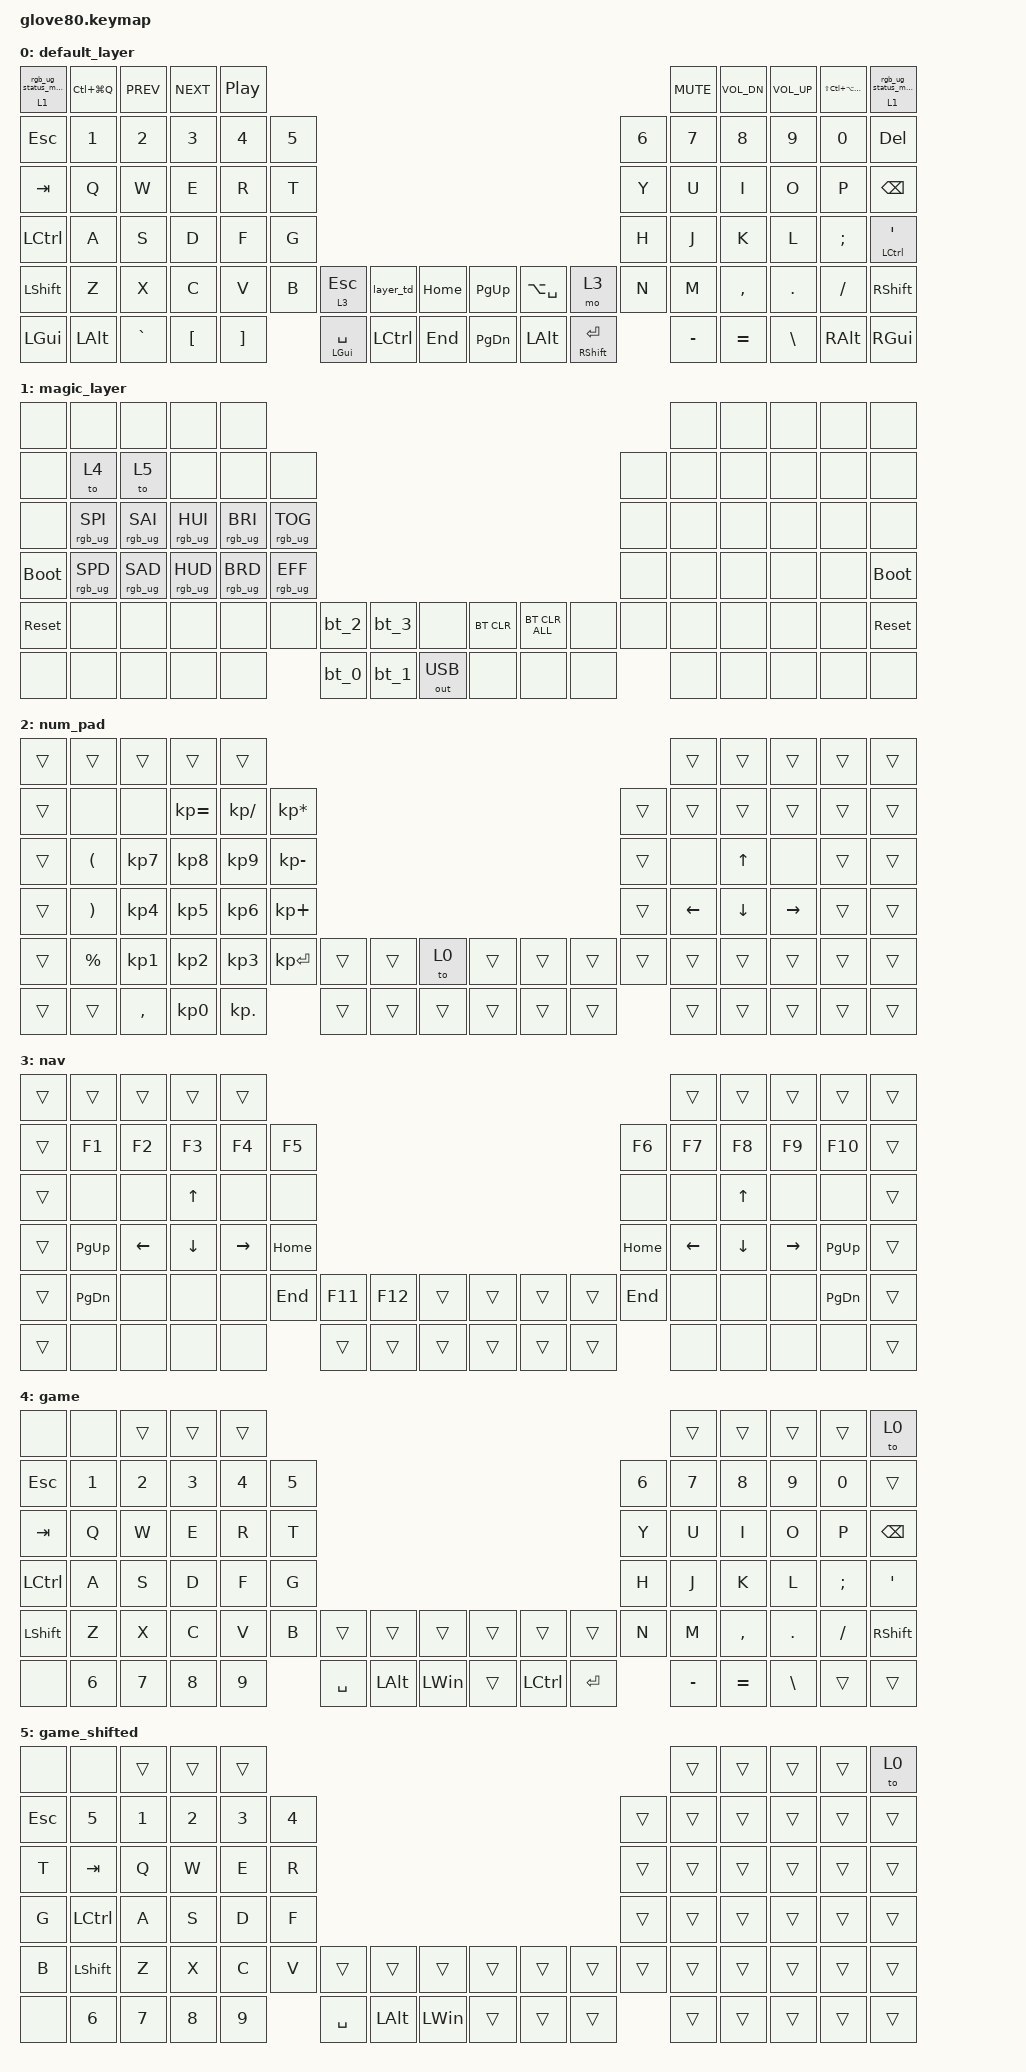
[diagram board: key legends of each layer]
/*
 * Copyright (c) 2020 The ZMK Contributors
 *
 * SPDX-License-Identifier: MIT
 */

#include <behaviors.dtsi>
#include <dt-bindings/zmk/bt.h>
#include <dt-bindings/zmk/keys.h>
#include <dt-bindings/zmk/outputs.h>
#include <dt-bindings/zmk/rgb.h>

#define HYPER LC(LS(LG(LALT)))

/ {
    behaviors {
        layer_td: tap_dance_0 {
            compatible = "zmk,behavior-tap-dance";
            label = "LAYER_TAP_DANCE";
            #binding-cells = <0>;
            tapping-term-ms = <200>;
            bindings = <&mo 2>, <&to 2>;
        };

        magic: magic_hold_tap {
            compatible = "zmk,behavior-hold-tap";
            label = "MAGIC_HOLD_TAP";
            #binding-cells = <2>;
            flavor = "tap-preferred";
            tapping-term-ms = <200>;
            bindings = <&mo>, <&rgb_ug_status_macro>;
        };

        new_behavior: new_behavior {
            compatible = "zmk,behavior-tap-dance";
            label = "NEW_BEHAVIOR";
            #binding-cells = <0>;
            tapping-term-ms = <200>;
            bindings = <&mo 3>, <&to 3>;
        };

        ht_tp: holdtap_tappreferred {
            compatible = "zmk,behavior-hold-tap";
            label = "HOLD_TAP_TAP_PREFERRED";
            #binding-cells = <2>;
            flavor = "tap-preferred";
            tapping-term-ms = <200>;
            quick-tap-ms = <0>;
            bindings = <&kp>, <&kp>;
        };
    };

    macros {
        rgb_ug_status_macro: rgb_ug_status_macro_0 {
            label = "RGB_UG_STATUS";
            compatible = "zmk,behavior-macro";
            #binding-cells = <0>;
            bindings = <&rgb_ug RGB_STATUS>;
        };

        bt_0: bt_profile_macro_0 {
            label = "BT_0";
            compatible = "zmk,behavior-macro";
            #binding-cells = <0>;
            bindings = <&out OUT_BLE &bt BT_SEL 0>;
        };

        bt_1: bt_profile_macro_1 {
            label = "BT_1";
            compatible = "zmk,behavior-macro";
            #binding-cells = <0>;
            bindings = <&out OUT_BLE &bt BT_SEL 1>;
        };

        bt_2: bt_profile_macro_2 {
            label = "BT_2";
            compatible = "zmk,behavior-macro";
            #binding-cells = <0>;
            bindings = <&out OUT_BLE &bt BT_SEL 2>;
        };

        bt_3: bt_profile_macro_3 {
            label = "BT_3";
            compatible = "zmk,behavior-macro";
            #binding-cells = <0>;
            bindings = <&out OUT_BLE &bt BT_SEL 3>;
        };

        lm: lm {
            compatible = "zmk,behavior-macro-two-param";
            wait-ms = <0>;
            tap-ms = <0>;
            #binding-cells = <2>;
            bindings =
                <&macro_param_1to1>,
                <&macro_press>,
                <&mo MACRO_PLACEHOLDER &macro_param_2to1>,
                <&macro_press>,
                <&kp MACRO_PLACEHOLDER>,
                <&macro_pause_for_release>,
                <&macro_param_2to1>,
                <&macro_release>,
                <&kp MACRO_PLACEHOLDER &macro_param_1to1>,
                <&macro_release>,
                <&mo MACRO_PLACEHOLDER>;
        };
    };

    keymap {
        compatible = "zmk,keymap";

        default_layer {
            bindings = <
&magic 1 0        &kp LC(LG(Q))  &kp C_PREV  &kp C_NEXT  &kp C_PP                                                                                                               &kp C_MUTE  &kp C_VOL_DN  &kp C_VOL_UP  &kp LS(LC(LA(LG(F14))))  &magic 1 0
&kp ESCAPE        &kp N1         &kp N2      &kp N3      &kp N4    &kp N5                                                                                               &kp N6  &kp N7      &kp N8        &kp N9        &kp N0                   &kp DEL
&kp TAB           &kp Q          &kp W       &kp E       &kp R     &kp T                                                                                                &kp Y   &kp U       &kp I         &kp O         &kp P                    &kp BACKSPACE
&kp LEFT_CONTROL  &kp A          &kp S       &kp D       &kp F     &kp G                                                                                                &kp H   &kp J       &kp K         &kp L         &kp SEMI                 &ht_tp LEFT_CONTROL SQT
&kp LSHFT         &kp Z          &kp X       &kp C       &kp V     &kp B   &lt 3 ESC          &layer_td  &kp HOME    &kp PAGE_UP    &kp LA(SPACE)  &mo 3                &kp N   &kp M       &kp COMMA     &kp DOT       &kp FSLH                 &kp RSHFT
&kp LGUI          &kp LALT       &kp GRAVE   &kp LBKT    &kp RBKT          &ht_tp LGUI SPACE  &kp LCTRL  &kp END     &kp PAGE_DOWN  &kp LALT       &ht_tp RSHIFT ENTER          &kp MINUS   &kp EQUAL     &kp BSLH      &kp RALT                 &kp RGUI
            >;
        };

        magic_layer {
            bindings = <
&none        &none            &none            &none            &none                                                                                                     &none  &none  &none  &none  &none
&none        &to 4            &to 5            &none            &none            &none                                                                             &none  &none  &none  &none  &none  &none
&none        &rgb_ug RGB_SPI  &rgb_ug RGB_SAI  &rgb_ug RGB_HUI  &rgb_ug RGB_BRI  &rgb_ug RGB_TOG                                                                   &none  &none  &none  &none  &none  &none
&bootloader  &rgb_ug RGB_SPD  &rgb_ug RGB_SAD  &rgb_ug RGB_HUD  &rgb_ug RGB_BRD  &rgb_ug RGB_EFF                                                                   &none  &none  &none  &none  &none  &bootloader
&sys_reset   &none            &none            &none            &none            &none            &bt_2  &bt_3  &none           &bt BT_CLR  &bt BT_CLR_ALL  &none  &none  &none  &none  &none  &none  &sys_reset
&none        &none            &none            &none            &none                             &bt_0  &bt_1  &out OUT_USB    &none       &none           &none         &none  &none  &none  &none  &none
            >;
        };

        num_pad {
            bindings = <
&trans  &trans       &trans     &trans        &trans                                                                                   &trans    &trans    &trans     &trans  &trans
&trans  &none        &none      &kp KP_EQUAL  &kp KP_SLASH  &kp KP_MULTIPLY                                                    &trans  &trans    &trans    &trans     &trans  &trans
&trans  &kp LPAR     &kp KP_N7  &kp KP_N8     &kp KP_N9     &kp KP_MINUS                                                       &trans  &none     &kp UP    &none      &trans  &trans
&trans  &kp RPAR     &kp KP_N4  &kp KP_N5     &kp KP_N6     &kp KP_PLUS                                                        &trans  &kp LEFT  &kp DOWN  &kp RIGHT  &trans  &trans
&trans  &kp PERCENT  &kp KP_N1  &kp KP_N2     &kp KP_N3     &kp KP_ENTER     &trans  &trans  &to 0     &trans  &trans  &trans  &trans  &trans    &trans    &trans     &trans  &trans
&trans  &trans       &kp COMMA  &kp KP_N0     &kp KP_DOT                     &trans  &trans  &trans    &trans  &trans  &trans          &trans    &trans    &trans     &trans  &trans
            >;
        };

        nav {
            bindings = <
&trans  &trans     &trans    &trans    &trans                                                                             &trans    &trans    &trans     &trans     &trans
&trans  &kp F1     &kp F2    &kp F3    &kp F4     &kp F5                                                        &kp F6    &kp F7    &kp F8    &kp F9     &kp F10    &trans
&trans  &none      &none     &kp UP    &none      &none                                                         &none     &none     &kp UP    &none      &none      &trans
&trans  &kp PG_UP  &kp LEFT  &kp DOWN  &kp RIGHT  &kp HOME                                                      &kp HOME  &kp LEFT  &kp DOWN  &kp RIGHT  &kp PG_UP  &trans
&trans  &kp PG_DN  &none     &none     &none      &kp END   &kp F11  &kp F12  &trans    &trans  &trans  &trans  &kp END   &none     &none     &none      &kp PG_DN  &trans
&trans  &none      &none     &none     &none                &trans   &trans   &trans    &trans  &trans  &trans            &none     &none     &none      &none      &trans
            >;
        };

        game {
            bindings = <
&none      &none   &trans  &trans  &trans                                                                                 &trans     &trans     &trans    &trans    &to 0
&kp ESC    &kp N1  &kp N2  &kp N3  &kp N4  &kp N5                                                                 &kp N6  &kp N7     &kp N8     &kp N9    &kp N0    &trans
&kp TAB    &kp Q   &kp W   &kp E   &kp R   &kp T                                                                  &kp Y   &kp U      &kp I      &kp O     &kp P     &kp BSPC
&kp LCTRL  &kp A   &kp S   &kp D   &kp F   &kp G                                                                  &kp H   &kp J      &kp K      &kp L     &kp SEMI  &kp APOS
&kp LSHFT  &kp Z   &kp X   &kp C   &kp V   &kp B   &trans     &trans    &trans      &trans  &trans     &trans     &kp N   &kp M      &kp COMMA  &kp DOT   &kp FSLH  &kp RSHFT
&none      &kp N6  &kp N7  &kp N8  &kp N9          &kp SPACE  &kp LALT  &kp LWIN    &trans  &kp LCTRL  &kp ENTER          &kp MINUS  &kp EQUAL  &kp BSLH  &trans    &trans
            >;
        };

        game_shifted {
            bindings = <
&none    &none       &trans  &trans  &trans                                                                               &trans  &trans  &trans  &trans  &to 0
&kp ESC  &kp N5      &kp N1  &kp N2  &kp N3  &kp N4                                                               &trans  &trans  &trans  &trans  &trans  &trans
&kp T    &kp TAB     &kp Q   &kp W   &kp E   &kp R                                                                &trans  &trans  &trans  &trans  &trans  &trans
&kp G    &kp LCTRL   &kp A   &kp S   &kp D   &kp F                                                                &trans  &trans  &trans  &trans  &trans  &trans
&kp B    &kp LSHIFT  &kp Z   &kp X   &kp C   &kp V   &trans     &trans    &trans          &trans  &trans  &trans  &trans  &trans  &trans  &trans  &trans  &trans
&none    &kp N6      &kp N7  &kp N8  &kp N9          &kp SPACE  &kp LALT  &kp LEFT_WIN    &trans  &trans  &trans          &trans  &trans  &trans  &trans  &trans
            >;
        };
    };
};
